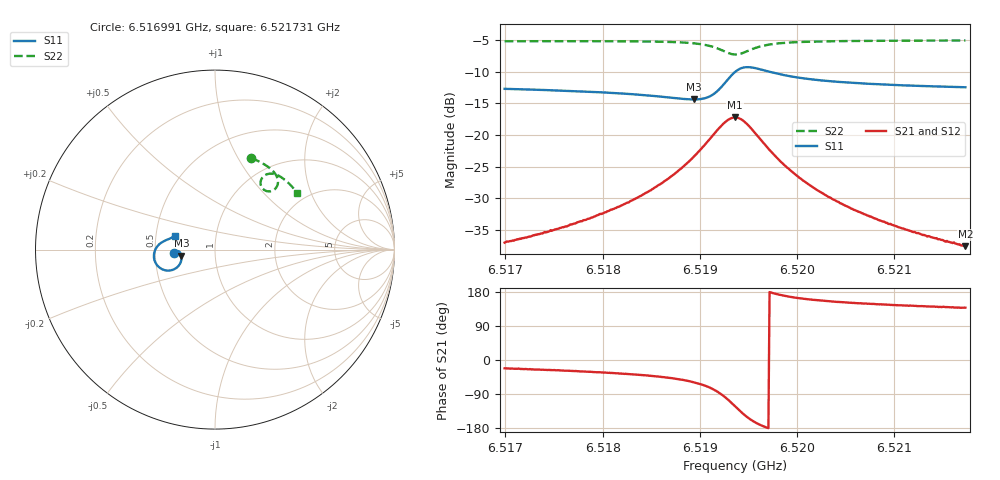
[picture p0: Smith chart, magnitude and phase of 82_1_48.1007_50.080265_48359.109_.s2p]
#  HZ  S  RI  R  50.00
! Rohde & Schwarz Vector Network Analyzer
! Rohde-Schwarz,ZNB20-2Port,1311601062101988,3.16
! Created: UTC 12/23/2023, 3:42:51 AM
! freq[Hz]  re:S11  im:S11  re:S21  im:S21  re:S12  im:S12  re:S22  im:S22
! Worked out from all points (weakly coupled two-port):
!   401 points, 6.516991 GHz to 6.521731 GHz, reference 50 ohm
!   highest |S21| = -17.23 dB at 6.519361 GHz (marker M1); lowest = -37.5 dB at 6.521731 GHz (marker M2)
!   lowest |S11| = -14.4 dB at 6.518934 GHz (marker M3), VSWR 1.47, Z = 34.1 - j2.44 ohm
!   |S11| at or under -10 dB: start of sweep to 6.519366 GHz; 6.519709 GHz to end of sweep
!   |S22| runs from -7.3 to -5.1 dB; largest |S21 - S12| = 0.0042
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6.5169909e9  -0.2305 -0.0174  0.0132 -0.00531  0.0133 -0.00487  0.2029 0.5094
6.5173583e9  -0.2265 -0.0119  0.015 -0.00722  0.0151 -0.00665  0.23 0.4981
6.5177849e9  -0.2205 -0.00698  0.018 -0.0105  0.0184 -0.00991  0.2616 0.4825
6.5182471e9  -0.2111 -0.00505  0.0234 -0.0175  0.024 -0.0168  0.2965 0.4603
6.5185789e9  -0.2011 -0.00962  0.0292 -0.0281  0.0301 -0.0272  0.3223 0.4383
6.5187685e9  -0.1937 -0.0182  0.0331 -0.0395  0.0345 -0.0387  0.3371 0.4204
6.5189344e9  -0.1875 -0.0345  0.0351 -0.0574  0.0371 -0.0566  0.3481 0.3976
6.519041e9  -0.1869 -0.053  0.0326 -0.0754  0.0352 -0.075  0.3511 0.377
6.5191358e9  -0.194 -0.0772  0.0222 -0.0975  0.0253 -0.0975  0.3459 0.3541
6.5192662e9  -0.2367 -0.1131  -0.0214 -0.1258  -0.0179 -0.1275  0.313 0.3259
6.5193136e9  -0.2647 -0.1169  -0.0469 -0.1265  -0.0437 -0.1288  0.293 0.3248
6.519361e9  -0.2944 -0.1095  -0.0728 -0.1167  -0.0701 -0.1196  0.2732 0.3332
6.5194084e9  -0.3194 -0.0909  -0.0931 -0.0978  -0.0908 -0.1011  0.2591 0.3493
6.5194676e9  -0.337 -0.0596  -0.1053 -0.0687  -0.1039 -0.0721  0.2537 0.3734
6.5195743e9  -0.3362 -0.00932  -0.0991 -0.0258  -0.0991 -0.0289  0.2682 0.4063
6.5196809e9  -0.3199 0.0199  -0.0819 -0.0033  -0.0823 -0.00565  0.2912 0.4203
6.5199061e9  -0.2891 0.0449  -0.0535 0.0117  -0.0543 0.0102  0.3299 0.4209
6.5201549e9  -0.2688 0.0543  -0.0365 0.014  -0.0374 0.0129  0.3588 0.4096
6.520463e9  -0.2539 0.0605  -0.0254 0.0132  -0.0261 0.0126  0.3849 0.3923
6.5209489e9  -0.2396 0.0676  -0.0165 0.0111  -0.0171 0.0109  0.4168 0.3638
6.5213162e9  -0.2319 0.0727  -0.0127 0.01  -0.0133 0.00987  0.4372 0.3415
6.521731e9  -0.2247 0.0783  -0.00991 0.0089  -0.0103 0.0089  0.4578 0.316
